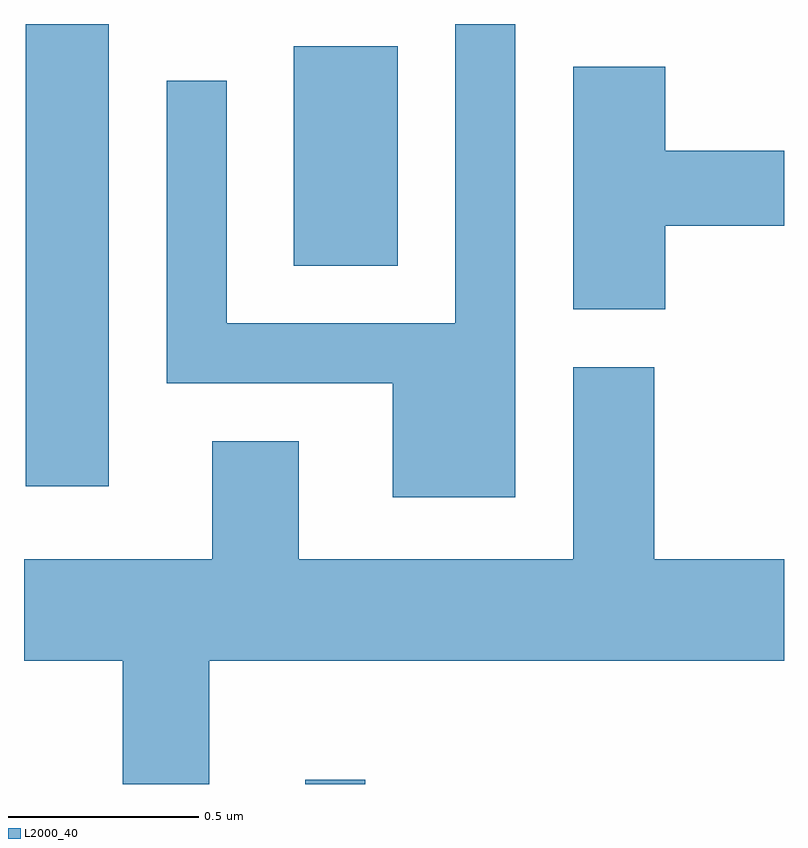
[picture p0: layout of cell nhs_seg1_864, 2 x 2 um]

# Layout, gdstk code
import gdstk
lib = gdstk.Library(unit=1e-6, precision=1e-09)
def R(c, l, rs):  # rectangles x0, y0, x1, y1
    for r in rs: c.add(gdstk.rectangle(r[:2], r[2:], *l))
def P(c, l, *ps):  # polygons
    for p in ps: c.add(gdstk.Polygon(p, *l))
L2000_40 = (2000, 40)

nhs_seg1_864 = lib.new_cell('nhs_seg1_864')
R(nhs_seg1_864, L2000_40, [(192.351,883.712,192.509,883.723), (191.616,884.496,191.834,885.712), (192.321,885.076,192.594,885.654)])
P(nhs_seg1_864, L2000_40, [(192.904,885.712),(192.746,885.712),(192.746,884.924),(192.144,884.924),(192.144,885.563),(191.986,885.563),(191.986,884.766),(192.581,884.766),(192.581,884.466),(192.904,884.466)],
  [(193.299,885.181),(193.611,885.181),(193.611,885.379),(193.299,885.379),(193.299,885.599),(193.056,885.599),(193.056,884.961),(193.299,884.961)],
  [(192.099,884.036),(193.611,884.036),(193.611,884.304),(193.269,884.304),(193.269,884.809),(193.056,884.809),(193.056,884.304),(192.334,884.304),(192.334,884.614),(192.106,884.614),(192.106,884.304),(191.611,884.304),(191.611,884.036),(191.871,884.036),(191.871,883.712),(192.099,883.712)])

lib.write_gds('nhs_seg1_864.gds')
